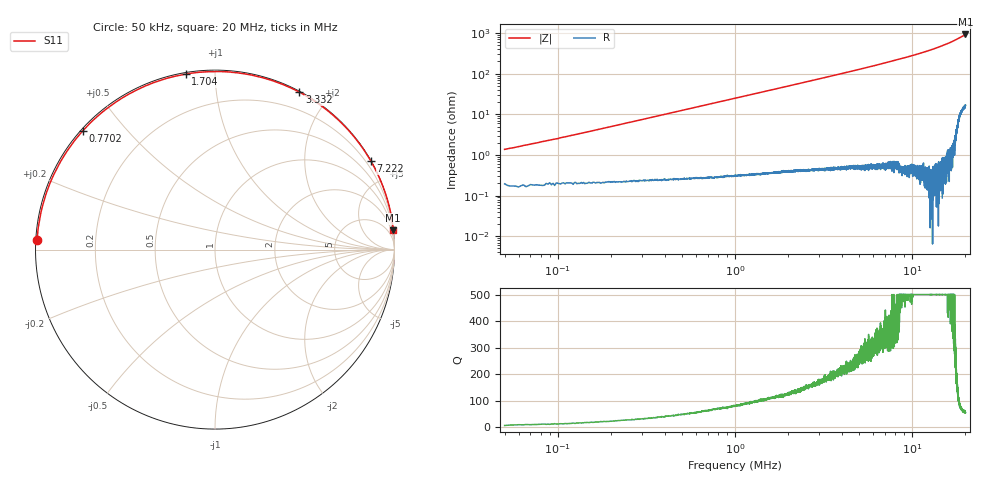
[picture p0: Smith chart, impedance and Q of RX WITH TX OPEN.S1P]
!Keysight Technologies,E5063A,MY54100949,A.07.30
!Date: Thu Dec 18 19:25:24 2025
!Data & Calibration Information:
!Freq	S22:SOLT1(ON)
# Hz S RI R 50
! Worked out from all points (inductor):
!   10001 points, 50 kHz to 20 MHz, reference 50 ohm
!   read as one part to ground: L = 3.98 uH near 149.8 kHz
!   highest |Z| = 923 ohm at 20 MHz (marker M1)
!   S11 on the Smith chart (normalised r, x): 50 kHz: 0.00, +0.03; 770.2 kHz: 0.01, +0.38; 1.704 MHz: 0.01, +0.85; 3.332 MHz: 0.01, +1.67; 7.222 MHz: 0.01, +3.79; 20 MHz: 0, +18
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50000  -0.9908 0.0539
131795  -0.9833 0.1316
255485  -0.9595 0.2486
383165  -0.9207 0.365
584660  -0.8359 0.5307
770195  -0.7373 0.6612
993635  -0.6024 0.7861
1215080  -0.4614 0.8765
1450490  -0.3136 0.9398
1703855  -0.1636 0.9777
1909340  -0.0513 0.9908
2126795  0.0566 0.9906
2543750  0.2321 0.9661
2926790  0.3605 0.9269
3331775  0.4695 0.8775
3704840  0.5496 0.8302
4113815  0.6206 0.7797
4550720  0.6806 0.7283
5037500  0.7338 0.6754
6027020  0.8105 0.5826
7222025  0.8686 0.4927
7531250  0.8796 0.4728
8654435  0.9116 0.4093
1.0025e7  0.9374 0.3471
1.251875e7  0.9649 0.2618
1.50125e7  0.9798 0.1987
1.750625e7  0.9885 0.1478
2e7  0.9922 0.1078
